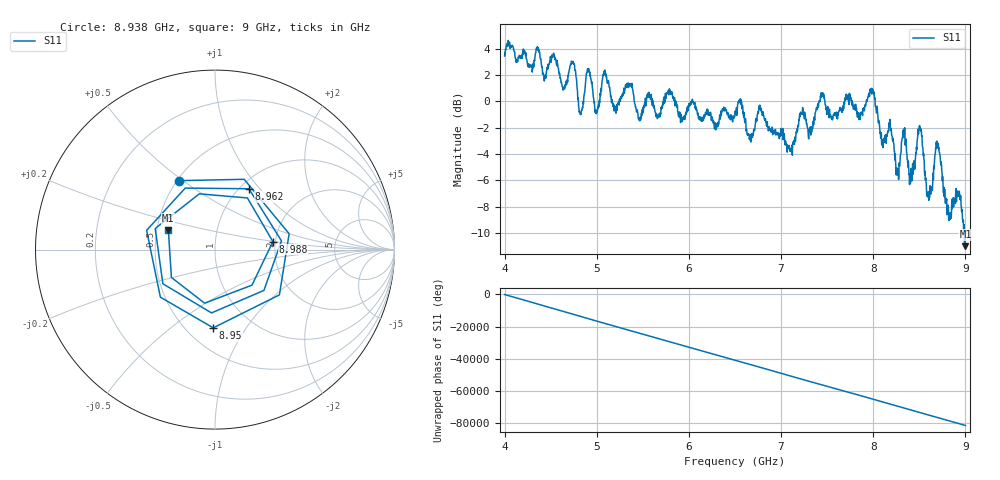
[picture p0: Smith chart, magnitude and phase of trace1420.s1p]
! Created with skrf 1.8.0 (http://scikit-rf.org).
# Hz S RI R 50.0
!freq ReS11 ImS11
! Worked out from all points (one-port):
!   1601 points, 4 GHz to 9 GHz, reference 50 ohm
!   lowest |S11| = -11.0 dB at 9 GHz (marker M1), VSWR 1.78, Z = 28.8 + j6.76 ohm
!   |S11| at or under -10 dB: 8.988671 GHz to end of sweep
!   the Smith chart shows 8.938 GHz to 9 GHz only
!   S11 on the Smith chart (normalised r, x): 8.938 GHz: 0.51, +0.48; 8.95 GHz: 0.67, -0.72; 8.962 GHz: 1.10, +0.88; 8.988 GHz: 1.94, +0.19; 9 GHz: 0.58, +0.14
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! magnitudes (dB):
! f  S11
! 4 GHz  3.4
! 4.534 GHz  3.5
! 4.625 GHz  1.1
! 4.734 GHz  3.0
! 4.825 GHz  -0.9
! 4.906 GHz  2.2
! 4.997 GHz  -1.0
! 5.084 GHz  2.3
! 5.25 GHz  0.0
! 5.875 GHz  -0.3
! 6.5 GHz  -0.9
! 7.125 GHz  -3.5
! 7.444 GHz  0.6
! 7.75 GHz  0.5
! 7.991 GHz  0.9
! 8.1 GHz  -3.0
! 8.334 GHz  -2.7
! 8.375 GHz  -4.8
! 8.428 GHz  -4.7
! 8.506 GHz  -2.0
! 8.6 GHz  -6.9
! 8.697 GHz  -3.3
! 8.822 GHz  -9.1
! 8.938 GHz  -7.3
! 8.95 GHz  -7.2
! 8.962 GHz  -8.2
! 8.988 GHz  -9.7
! 9 GHz  -11.0
